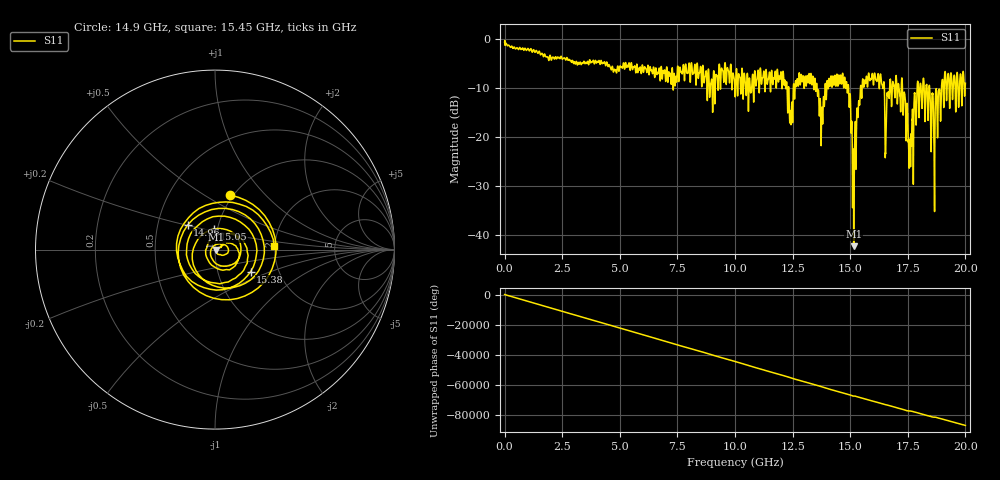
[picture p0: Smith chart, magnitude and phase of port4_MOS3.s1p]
! MS46122B
! 2250307/22442219
! 6/13/2025 3:29:49 PM
! C:\USERS\SPARKY\DOCUMENTS\VNA_DATA\JUNE13_2025\3.2K\PORT4_MOS3.S1P
! CHANNEL.1
! TR.MEASUREMENT
! RAW.DATA
# GHZ S RI R 50.0
! FREQ.GHZ  S11RE  S11IM
!; PortSelection: Port_1
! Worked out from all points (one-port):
!   10001 points, 1 MHz to 20 GHz, reference 50 ohm
!   lowest |S11| = -42.2 dB at 15.15 GHz (marker M1), VSWR 1.02, Z = 50.8 - j0.00524 ohm
!   |S11| at or under -10 dB: 14.93 GHz to 15.45 GHz (515.3 MHz wide, 3.39 % of centre); 17.27 GHz to 17.91 GHz (637.7 MHz wide, 3.63 % of centre); 18.45 GHz to 18.96 GHz (514.5 MHz wide, 2.75 % of centre) (the widest 3 of 56)
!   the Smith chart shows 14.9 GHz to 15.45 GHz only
!   S11 on the Smith chart (normalised r, x): 14.9 GHz: 0.97, +0.65; 14.96 GHz: 0.71, +0.20; 15.05 GHz: 0.96, +0.22; 15.38 GHz: 1.44, -0.37; 15.45 GHz: 1.99, +0.08
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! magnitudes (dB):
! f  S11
! 1 MHz  -0.7
! 2.501 GHz  -4.1
! 5.001 GHz  -5.7
! 7.501 GHz  -6.0
! 10 GHz  -11.0
! 11.92 GHz  -7.6
! 12.5 GHz  -17.1
! 12.87 GHz  -7.4
! 13.46 GHz  -8.0
! 13.74 GHz  -21.7
! 14.09 GHz  -8.1
! 14.9 GHz  -10.0
! 14.96 GHz  -13.8
! 15 GHz  -11.3
! 15.05 GHz  -18.8
! 15.15 GHz  -42.2
! 15.38 GHz  -12.6
! 15.45 GHz  -9.6
! 16.27 GHz  -10.0
! 16.59 GHz  -11.9
! 16.93 GHz  -11.1
! 17.31 GHz  -14.3
! 17.5 GHz  -15.5
! 17.65 GHz  -21.1
! 18.11 GHz  -14.1
! 18.59 GHz  -11.2
! 19.06 GHz  -13.8
! 20 GHz  -9.0
